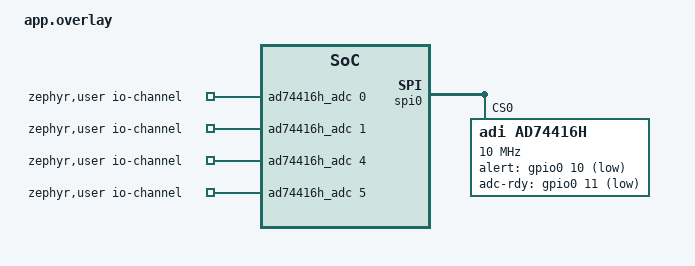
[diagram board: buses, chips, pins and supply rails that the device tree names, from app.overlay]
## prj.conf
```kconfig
CONFIG_ZTEST=y
CONFIG_EMUL=y
CONFIG_SPI=y
CONFIG_GPIO=y
CONFIG_ADC=y
CONFIG_ADC_ASYNC=y
CONFIG_DAC=y
CONFIG_MFD=y
```

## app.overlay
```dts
/*
 * Copyright (c) 2026 Terraflow Energy Europe
 *
 * SPDX-License-Identifier: Apache-2.0
 *
 * AD74416H on an emulated SPI bus, with ALERT and ADC_RDY on emulated GPIOs.
 */

#include <zephyr/dt-bindings/adc/adc.h>
#include <zephyr/dt-bindings/mfd/ad74416h.h>

#define AD74416H_ADC_CH(n, res)                                                                    \
	channel@n {                                                                                \
		reg = <n>;                                                                         \
		zephyr,gain = "ADC_GAIN_1";                                                        \
		zephyr,reference = "ADC_REF_INTERNAL";                                             \
		zephyr,acquisition-time = <ADC_ACQ_TIME_DEFAULT>;                                  \
		zephyr,resolution = <res>;                                                         \
	}

&spi0 {
	ad74416h: ad74416h@0 {
		compatible = "adi,ad74416h";
		reg = <0>;
		#address-cells = <1>;
		#size-cells = <0>;
		spi-max-frequency = <10000000>;
		adi,dev-addr = <1>;
		adi,internal-ref;
		alert-gpios = <&gpio0 10 GPIO_ACTIVE_LOW>;
		adc-rdy-gpios = <&gpio0 11 GPIO_ACTIVE_LOW>;
		adi,diag-assign = <AD74416H_DIAG_TEMP AD74416H_DIAG_AVDD_HI
				   AD74416H_DIAG_AVCC AD74416H_DIAG_DVCC>;

		channel@0 {
			reg = <0>;
			adi,ch-func = <AD74416H_CH_FUNC_VOUT>;
			adi,vout-bipolar;
		};

		channel@1 {
			reg = <1>;
			adi,ch-func = <AD74416H_CH_FUNC_RES_MEAS>;
			adi,rtd-500ua;
			adi,rtd-ref-1v;
			adi,adc-range = <AD74416H_ADC_RANGE_0_12V>;
		};

		channel@2 {
			reg = <2>;
			adi,ch-func = <AD74416H_CH_FUNC_DIN_LOGIC>;
			adi,din-threshold-fixed;
			adi,din-threshold = <0x37>;
			adi,din-sink = <0x14>;
			adi,din-counter;
		};

		channel@3 {
			reg = <3>;
			adi,ch-func = <AD74416H_CH_FUNC_HIGH_IMP>;
			adi,do-enable;
			adi,do-t1 = <5>;
		};

		ad74416h_adc: adc {
			compatible = "adi,ad74416h-adc";
			#io-channel-cells = <1>;
			#address-cells = <1>;
			#size-cells = <0>;

			AD74416H_ADC_CH(0, 24);
			AD74416H_ADC_CH(1, 24);
			AD74416H_ADC_CH(2, 24);
			AD74416H_ADC_CH(3, 24);
			AD74416H_ADC_CH(4, 16);
			AD74416H_ADC_CH(5, 16);
			AD74416H_ADC_CH(6, 16);
			AD74416H_ADC_CH(7, 16);
		};

		ad74416h_dac: dac {
			compatible = "adi,ad74416h-dac";
			#io-channel-cells = <1>;
		};

		ad74416h_gpio: gpio {
			compatible = "adi,ad74416h-gpio";
			gpio-controller;
			#gpio-cells = <2>;
		};
	};
};

/ {
	zephyr,user {
		io-channels = <&ad74416h_adc 0>, <&ad74416h_adc 1>, <&ad74416h_adc 4>,
			      <&ad74416h_adc 5>;
	};
};
```

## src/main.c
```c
/*
 * Copyright (c) 2026 Terraflow Energy Europe
 *
 * SPDX-License-Identifier: Apache-2.0
 *
 * AD74416H driver tests against the register-level emulator.
 */

#include <zephyr/device.h>
#include <zephyr/drivers/adc.h>
#include <zephyr/drivers/dac.h>
#include <zephyr/drivers/emul.h>
#include <zephyr/drivers/gpio.h>
#include <zephyr/kernel.h>
#include <zephyr/ztest.h>

#include <zephyr/drivers/mfd/ad74416h.h>
#include "mfd_ad74416h_emul.h"

#define AD_NODE DT_NODELABEL(ad74416h)

static const struct device *const dev = DEVICE_DT_GET(AD_NODE);
static const struct device *const adc = DEVICE_DT_GET(DT_NODELABEL(ad74416h_adc));
static const struct device *const dac = DEVICE_DT_GET(DT_NODELABEL(ad74416h_dac));
static const struct device *const gpio = DEVICE_DT_GET(DT_NODELABEL(ad74416h_gpio));
static const struct emul *const emul = EMUL_DT_GET(AD_NODE);

static const struct adc_dt_spec adc_ch0 = ADC_DT_SPEC_GET_BY_IDX(DT_PATH(zephyr_user), 0);
static const struct adc_dt_spec adc_ch1 = ADC_DT_SPEC_GET_BY_IDX(DT_PATH(zephyr_user), 1);
static const struct adc_dt_spec adc_diag0 = ADC_DT_SPEC_GET_BY_IDX(DT_PATH(zephyr_user), 2);
static const struct adc_dt_spec adc_diag1 = ADC_DT_SPEC_GET_BY_IDX(DT_PATH(zephyr_user), 3);

static uint16_t reg(uint8_t r)
{
	return ad74416h_emul_reg_get(emul, r);
}

static void before_each(void *fixture)
{
	ARG_UNUSED(fixture);

	ad74416h_emul_adc_hang(emul, false);
	ad74416h_emul_cal_mem_fault(emul, false);
	(void)ad74416h_adc_stop(dev, false);
	(void)ad74416h_alert_callback_set(dev, NULL, NULL);
	zassert_ok(ad74416h_reset(dev));
	ad74416h_emul_stats_clear(emul);
}

static void after_each(void *fixture)
{
	const struct ad74416h_emul_stats *s = ad74416h_emul_stats_get(emul);

	ARG_UNUSED(fixture);

	zassert_equal(s->bad_frames, 0, "driver sent %u bad frames", s->bad_frames);
	zassert_equal(s->violations, 0, "%u data sheet sequence violations", s->violations);
}

ZTEST_SUITE(ad74416h, NULL, NULL, before_each, after_each, NULL);

ZTEST(ad74416h, test_devices_ready)
{
	zassert_true(device_is_ready(dev));
	zassert_true(device_is_ready(adc));
	zassert_true(device_is_ready(dac));
	zassert_true(device_is_ready(gpio));
}

ZTEST(ad74416h, test_id)
{
	uint8_t rev;
	uint32_t uid;

	zassert_ok(ad74416h_get_id(dev, &rev, &uid));
	zassert_equal(rev, 2);
	/* SILICON_ID0 = 0x55, SILICON_ID1 = 0xABC */
	zassert_equal(uid, 0x55 | (0x3C << 7) | (0x2A << 13));
}

ZTEST(ad74416h, test_reset_uses_keys_and_clears_alerts)
{
	ad74416h_emul_stats_clear(emul);
	zassert_ok(ad74416h_reset(dev));

	zassert_equal(ad74416h_emul_stats_get(emul)->resets, 1);
	zassert_equal(reg(AD74416H_REG_ALERT_STATUS), 0, "alerts not cleared after reset");
	zassert_true(reg(AD74416H_REG_PWR_OPTIM_CONFIG) & AD74416H_PWR_REF_EN,
		     "internal reference not enabled after reset");
}

ZTEST(ad74416h, test_cal_mem_fault)
{
	ad74416h_emul_cal_mem_fault(emul, true);
	zassert_equal(ad74416h_reset(dev), -EIO);

	ad74416h_emul_cal_mem_fault(emul, false);
	zassert_ok(ad74416h_reset(dev));
}

ZTEST(ad74416h, test_register_access)
{
	static const uint8_t regs[] = {AD74416H_REG_SCRATCH(0), AD74416H_REG_SCRATCH(1),
				       AD74416H_REG_SCRATCH(2), AD74416H_REG_SCRATCH(3)};
	uint16_t vals[ARRAY_SIZE(regs)];

	for (int i = 0; i < ARRAY_SIZE(regs); i++) {
		zassert_ok(ad74416h_reg_write(dev, regs[i], 0x1111 * (i + 1)));
	}

	zassert_ok(ad74416h_reg_read_multi(dev, regs, vals, ARRAY_SIZE(regs)));
	for (int i = 0; i < ARRAY_SIZE(regs); i++) {
		zassert_equal(vals[i], 0x1111 * (i + 1));
	}

	zassert_ok(ad74416h_reg_update(dev, AD74416H_REG_SCRATCH(0), 0x00F0, 0x0050));
	zassert_ok(ad74416h_reg_read(dev, AD74416H_REG_SCRATCH(0), &vals[0]));
	zassert_equal(vals[0], 0x1151);
}

ZTEST(ad74416h, test_devicetree_config)
{
	/* Channel 0: bipolar voltage output, starting at 0 V */
	zassert_equal(reg(AD74416H_REG_CH_FUNC_SETUP(0)), AD74416H_CH_FUNC_VOUT);
	zassert_true(reg(AD74416H_REG_OUTPUT_CONFIG(0)) & AD74416H_OUT_VOUT_RANGE);
	zassert_equal(reg(AD74416H_REG_DAC_CODE(0)), 0x8000);

	/* Channel 1: RTD, 500 uA, 1 V reference, 0 V to 12 V range */
	zassert_equal(reg(AD74416H_REG_CH_FUNC_SETUP(1)), AD74416H_CH_FUNC_RES_MEAS);
	zassert_equal(reg(AD74416H_REG_RTD_CONFIG(1)), AD74416H_RTD_ADC_REF);
	zassert_equal(FIELD_GET(AD74416H_ADC_CONV_RANGE, reg(AD74416H_REG_ADC_CONFIG(1))),
		      AD74416H_ADC_RANGE_0_12V);
	zassert_equal(FIELD_GET(AD74416H_ADC_CONV_MUX, reg(AD74416H_REG_ADC_CONFIG(1))),
		      AD74416H_ADC_MUX_LF_TO_VSENSEN, "function default input was lost");

	/* Channel 2: IEC 61131-2 type 1/3 digital input with counter */
	zassert_equal(reg(AD74416H_REG_CH_FUNC_SETUP(2)), AD74416H_CH_FUNC_DIN_LOGIC);
	zassert_equal(reg(AD74416H_REG_DIN_CONFIG1(2)), AD74416H_DIN_THRESH_MODE | 0x37);
	zassert_equal(reg(AD74416H_REG_DIN_CONFIG0(2)),
		      AD74416H_DIN_COUNT_EN | AD74416H_DIN_COMPARATOR_EN |
			      FIELD_PREP(AD74416H_DIN_SINK, 0x14) |
			      FIELD_PREP(AD74416H_DIN_DEBOUNCE_TIME, 0xB));

	/* Channel 3: high impedance with the digital output enabled, FET off */
	zassert_equal(reg(AD74416H_REG_CH_FUNC_SETUP(3)), AD74416H_CH_FUNC_HIGH_IMP);
	zassert_equal(reg(AD74416H_REG_DO_EXT_CONFIG(3)), AD74416H_DO_MODE |
								  FIELD_PREP(AD74416H_DO_T1, 5) |
								  FIELD_PREP(AD74416H_DO_T2, 0x17));

	/* Diagnostics: TEMP, AVDD_HI, AVCC, DVCC */
	zassert_equal(reg(AD74416H_REG_DIAG_ASSIGN), 0x2351);

	/* adi,internal-ref */
	zassert_equal(reg(AD74416H_REG_PWR_OPTIM_CONFIG), AD74416H_PWR_REF_EN);
}

ZTEST(ad74416h, test_function_switch_sequence)
{
	const struct ad74416h_emul_stats *s = ad74416h_emul_stats_get(emul);
	struct ad74416h_channel_config cfg;
	int64_t start;

	ad74416h_channel_config_init(&cfg);
	cfg.func = AD74416H_CH_FUNC_IOUT_HART;
	cfg.dac_code = 0x1234;

	start = k_uptime_get();
	zassert_ok(ad74416h_channel_configure(dev, 0, &cfg));

	/* VOUT -> HIGH_IMP -> IOUT_HART, never directly */
	zassert_equal(s->func_history_len[0], 2);
	zassert_equal(s->func_history[0][0], AD74416H_CH_FUNC_HIGH_IMP);
	zassert_equal(s->func_history[0][1], AD74416H_CH_FUNC_IOUT_HART);

	/* 300 us before and 4.2 ms after the function change */
	zassert_true(k_uptime_get() - start >= 4, "channel init time not respected");

	/* The bipolar range was dropped in high impedance, the DAC code kept */
	zassert_false(reg(AD74416H_REG_OUTPUT_CONFIG(0)) & AD74416H_OUT_VOUT_RANGE);
	zassert_equal(reg(AD74416H_REG_DAC_CODE(0)), 0x1234);
	/* Function default: track supply */
	zassert_equal(FIELD_GET(AD74416H_OUT_AVDD_SELECT, reg(AD74416H_REG_OUTPUT_CONFIG(0))),
		      AD74416H_AVDD_TRACK);
	zassert_equal(reg(AD74416H_REG_CHANNEL_ALERT_STATUS(0)), 0, "VIOUT shut down");

	/* Config read back */
	zassert_ok(ad74416h_channel_config_get(dev, 0, &cfg));
	zassert_equal(cfg.func, AD74416H_CH_FUNC_IOUT_HART);
}

ZTEST(ad74416h, test_function_switch_disables_do)
{
	struct ad74416h_channel_config cfg;

	zassert_ok(ad74416h_do_set(dev, 3, true));
	zassert_true(reg(AD74416H_REG_DO_EXT_CONFIG(3)) & AD74416H_DO_DATA);

	ad74416h_channel_config_init(&cfg);
	cfg.func = AD74416H_CH_FUNC_VIN;
	zassert_ok(ad74416h_channel_configure(dev, 3, &cfg));

	zassert_false(reg(AD74416H_REG_DO_EXT_CONFIG(3)) & (AD74416H_DO_DATA | AD74416H_DO_MODE));
	zassert_equal(reg(AD74416H_REG_CH_FUNC_SETUP(3)), AD74416H_CH_FUNC_VIN);
}

ZTEST(ad74416h, test_invalid_config)
{
	struct ad74416h_channel_config cfg;

	ad74416h_channel_config_init(&cfg);
	zassert_equal(ad74416h_channel_configure(dev, 4, &cfg), -EINVAL);

	cfg.func = 0x6;
	zassert_equal(ad74416h_channel_configure(dev, 0, &cfg), -EINVAL);

	ad74416h_channel_config_init(&cfg);
	cfg.din_threshold = 99;
	zassert_equal(ad74416h_channel_configure(dev, 0, &cfg), -EINVAL);
}

ZTEST(ad74416h, test_adc_api)
{
	uint32_t buf32[3];
	uint16_t buf16[2];
	struct adc_sequence seq = {
		.buffer = buf32,
		.buffer_size = sizeof(buf32),
	};

	zassert_ok(adc_channel_setup_dt(&adc_ch0));
	zassert_ok(adc_channel_setup_dt(&adc_ch1));
	zassert_ok(adc_channel_setup_dt(&adc_diag0));
	zassert_ok(adc_channel_setup_dt(&adc_diag1));

	ad74416h_emul_adc_code_set(emul, 0, 0x123456);
	ad74416h_emul_adc_code_set(emul, 1, 0xABCDEF);
	ad74416h_emul_adc_code_set(emul, 4, 0x0A5A);
	ad74416h_emul_adc_code_set(emul, 5, 0x8000);

	seq.channels = BIT(0) | BIT(1) | BIT(4);
	seq.resolution = 24;
	zassert_ok(adc_read(adc, &seq));
	zassert_equal(buf32[0], 0x123456);
	zassert_equal(buf32[1], 0xABCDEF);
	zassert_equal(buf32[2], 0x0A5A);

	/* Only the requested channels were enabled */
	zassert_equal(reg(AD74416H_REG_ADC_CONV_CTRL) & 0xFF, BIT(0) | BIT(1) | BIT(4));

	/* 16-bit samples for diagnostics only */
	seq.buffer = buf16;
	seq.buffer_size = sizeof(buf16);
	seq.channels = BIT(4) | BIT(5);
	seq.resolution = 16;
	zassert_ok(adc_read(adc, &seq));
	zassert_equal(buf16[0], 0x0A5A);
	zassert_equal(buf16[1], 0x8000);

	seq.channels = BIT(0);
	zassert_equal(adc_read(adc, &seq), -EINVAL, "16-bit read of a 24-bit channel");

	seq.channels = BIT(3); /* not set up */
	seq.resolution = 24;
	seq.buffer = buf32;
	seq.buffer_size = sizeof(buf32);
	zassert_equal(adc_read(adc, &seq), -EINVAL);

	seq.channels = BIT(0) | BIT(1);
	seq.buffer_size = sizeof(uint32_t);
	zassert_equal(adc_read(adc, &seq), -ENOMEM);
}

ZTEST(ad74416h, test_adc_extra_samplings)
{
	uint32_t buf[3];
	struct adc_sequence_options opts = {.extra_samplings = 2};
	struct adc_sequence seq = {
		.options = &opts,
		.channels = BIT(0),
		.buffer = buf,
		.buffer_size = sizeof(buf),
		.resolution = 24,
	};

	zassert_ok(adc_channel_setup_dt(&adc_ch0));
	ad74416h_emul_adc_code_set(emul, 0, 0x000777);
	zassert_ok(adc_read(adc, &seq));
	for (int i = 0; i < ARRAY_SIZE(buf); i++) {
		zassert_equal(buf[i], 0x000777);
	}
}

ZTEST(ad74416h, test_adc_bad_channel_cfg)
{
	struct adc_channel_cfg cfg = {
		.gain = ADC_GAIN_2,
		.reference = ADC_REF_INTERNAL,
		.acquisition_time = ADC_ACQ_TIME_DEFAULT,
		.channel_id = 0,
	};

	zassert_equal(adc_channel_setup(adc, &cfg), -ENOTSUP);
	cfg.gain = ADC_GAIN_1;
	cfg.channel_id = 8;
	zassert_equal(adc_channel_setup(adc, &cfg), -EINVAL);
}

ZTEST(ad74416h, test_adc_timeout)
{
	uint32_t results[8];

	ad74416h_emul_adc_hang(emul, true);
	zassert_equal(ad74416h_adc_convert(dev, BIT(0), 0, results, K_MSEC(20)), -ETIMEDOUT);
	ad74416h_emul_adc_hang(emul, false);
	zassert_ok(ad74416h_adc_convert(dev, BIT(0), 0, results, K_MSEC(20)));
}

ZTEST(ad74416h, test_adc_continuous)
{
	uint32_t results[8];
	uint8_t seq_count;

	ad74416h_emul_adc_code_set(emul, 2, 0x00ABCD);
	zassert_ok(ad74416h_adc_start_continuous(dev, BIT(2), BIT(0)));
	zassert_equal(FIELD_GET(AD74416H_CONV_SEQ, reg(AD74416H_REG_ADC_CONV_CTRL)),
		      AD74416H_CONV_SEQ_CONTINUOUS);

	/* Configuration changes and single sequences are refused meanwhile */
	zassert_equal(ad74416h_adc_convert(dev, BIT(0), 0, results, K_MSEC(20)), -EBUSY);
	zassert_equal(ad74416h_adc_channel_set(dev, 0, AD74416H_ADC_RANGE_PM_12V,
					       AD74416H_ADC_RATE_20SPS,
					       AD74416H_ADC_MUX_LF_TO_AGND),
		      -EBUSY);

	zassert_ok(ad74416h_adc_results_read(dev, BIT(2), 0, results, &seq_count));
	zassert_equal(results[2], 0x00ABCD);
	zassert_equal(seq_count, 1);

	zassert_ok(ad74416h_adc_stop(dev, true));
	zassert_equal(FIELD_GET(AD74416H_CONV_SEQ, reg(AD74416H_REG_ADC_CONV_CTRL)),
		      AD74416H_CONV_SEQ_POWER_DOWN);
	zassert_ok(ad74416h_adc_channel_set(dev, 0, AD74416H_ADC_RANGE_PM_12V,
					    AD74416H_ADC_RATE_4K8SPS, AD74416H_ADC_MUX_LF_TO_AGND));
	zassert_equal(reg(AD74416H_REG_ADC_CONFIG(0)),
		      FIELD_PREP(AD74416H_ADC_CONV_RATE, AD74416H_ADC_RATE_4K8SPS) |
			      FIELD_PREP(AD74416H_ADC_CONV_RANGE, AD74416H_ADC_RANGE_PM_12V));
}

ZTEST(ad74416h, test_diag_assign)
{
	uint8_t diag;

	zassert_ok(ad74416h_diag_assign(dev, 2, AD74416H_DIAG_I_DO_SRC));
	zassert_ok(ad74416h_diag_get(dev, 2, &diag));
	zassert_equal(diag, AD74416H_DIAG_I_DO_SRC);
	zassert_equal(reg(AD74416H_REG_DIAG_ASSIGN), 0x2C51);
	zassert_equal(ad74416h_diag_assign(dev, 4, 0), -EINVAL);

	zassert_ok(ad74416h_diag_rate_set(dev, AD74416H_DIAG_RATE_19K2SPS));
	zassert_ok(ad74416h_adc_convert(dev, 0, BIT(2), (uint32_t[8]){0}, K_MSEC(20)));
	zassert_equal(FIELD_GET(AD74416H_CONV_RATE_DIAG, reg(AD74416H_REG_ADC_CONV_CTRL)),
		      AD74416H_DIAG_RATE_19K2SPS);
}

ZTEST(ad74416h, test_dac_api)
{
	struct dac_channel_cfg cfg = {.channel_id = 0, .resolution = 16};

	zassert_ok(dac_channel_setup(dac, &cfg));
	zassert_ok(dac_write_value(dac, 0, 0x9000));
	zassert_equal(reg(AD74416H_REG_DAC_CODE(0)), 0x9000);
	zassert_equal(reg(AD74416H_REG_DAC_ACTIVE(0)), 0x9000);

	zassert_equal(dac_write_value(dac, 0, 0x10000), -EINVAL);
	cfg.resolution = 12;
	zassert_equal(dac_channel_setup(dac, &cfg), -EINVAL);
}

ZTEST(ad74416h, test_dac_linear_slew_busy)
{
	uint16_t active;

	zassert_ok(ad74416h_dac_slew_set(dev, 0, AD74416H_SLEW_LINEAR, AD74416H_SLEW_STEP_6P1,
					 AD74416H_SLEW_RATE_76K8HZ));
	zassert_equal(FIELD_GET(AD74416H_OUT_SLEW_EN, reg(AD74416H_REG_OUTPUT_CONFIG(0))),
		      AD74416H_SLEW_LINEAR);

	zassert_ok(ad74416h_dac_set(dev, 0, 0xA000));
	/* Still slewing towards 0xA000 */
	zassert_equal(ad74416h_dac_set(dev, 0, 0xB000), -EBUSY);

	ad74416h_emul_dac_settle(emul, 0);
	zassert_ok(ad74416h_dac_active_get(dev, 0, &active));
	zassert_equal(active, 0xA000);
	zassert_ok(ad74416h_dac_set(dev, 0, 0xB000));
}

ZTEST(ad74416h, test_ldac)
{
	zassert_ok(ad74416h_reg_update(dev, AD74416H_REG_OUTPUT_CONFIG(0),
				       AD74416H_OUT_WAIT_LDAC_CMD, AD74416H_OUT_WAIT_LDAC_CMD));
	zassert_ok(ad74416h_dac_set(dev, 0, 0x4000));
	zassert_equal(reg(AD74416H_REG_DAC_ACTIVE(0)), 0x8000);
	zassert_ok(ad74416h_dac_update_all(dev));
	zassert_equal(reg(AD74416H_REG_DAC_ACTIVE(0)), 0x4000);
}

ZTEST(ad74416h, test_gpio_pins)
{
	zassert_ok(gpio_pin_configure(gpio, AD74416H_GPIO_A, GPIO_OUTPUT_HIGH));
	zassert_equal(FIELD_GET(AD74416H_GPIO_SELECT, reg(AD74416H_REG_GPIO_CONFIG(0))),
		      AD74416H_GPIO_SEL_GPO);
	zassert_true(reg(AD74416H_REG_GPIO_CONFIG(0)) & AD74416H_GPIO_GPO_DATA);
	zassert_false(reg(AD74416H_REG_GPIO_CONFIG(0)) & AD74416H_GPIO_GP_WK_PD_EN);
	zassert_equal(gpio_pin_get(gpio, AD74416H_GPIO_A), 1);

	zassert_ok(gpio_pin_toggle(gpio, AD74416H_GPIO_A));
	zassert_equal(gpio_pin_get(gpio, AD74416H_GPIO_A), 0);

	zassert_ok(gpio_pin_configure(gpio, AD74416H_GPIO_F, GPIO_INPUT | GPIO_PULL_DOWN));
	zassert_equal(FIELD_GET(AD74416H_GPIO_SELECT, reg(AD74416H_REG_GPIO_CONFIG(5))),
		      AD74416H_GPIO_SEL_GPI);
	zassert_true(reg(AD74416H_REG_GPIO_CONFIG(5)) & AD74416H_GPIO_GP_WK_PD_EN);
	ad74416h_emul_gpi_set(emul, 5, true);
	zassert_equal(gpio_pin_get(gpio, AD74416H_GPIO_F), 1);
	ad74416h_emul_gpi_set(emul, 5, false);
	zassert_equal(gpio_pin_get(gpio, AD74416H_GPIO_F), 0);

	zassert_equal(gpio_pin_configure(gpio, AD74416H_GPIO_B, GPIO_INPUT | GPIO_PULL_UP),
		      -ENOTSUP);
	zassert_equal(gpio_pin_interrupt_configure(gpio, AD74416H_GPIO_B, GPIO_INT_EDGE_BOTH),
		      -ENOTSUP);
}

ZTEST(ad74416h, test_gpio_din_do)
{
	zassert_ok(gpio_pin_configure(gpio, AD74416H_GPIO_DIN(2), GPIO_INPUT));
	zassert_equal(gpio_pin_configure(gpio, AD74416H_GPIO_DIN(2), GPIO_OUTPUT), -ENOTSUP);

	ad74416h_emul_din_set(emul, BIT(2));
	zassert_equal(gpio_pin_get(gpio, AD74416H_GPIO_DIN(2)), 1);
	zassert_equal(gpio_pin_get(gpio, AD74416H_GPIO_DIN(1)), 0);

	zassert_equal(gpio_pin_configure(gpio, AD74416H_GPIO_DO(1), GPIO_INPUT), -ENOTSUP);
	zassert_ok(gpio_pin_configure(gpio, AD74416H_GPIO_DO(1), GPIO_OUTPUT_INACTIVE));
	zassert_equal(reg(AD74416H_REG_DO_EXT_CONFIG(1)) &
			      (AD74416H_DO_MODE | AD74416H_DO_DATA | AD74416H_DO_SRC_SEL),
		      AD74416H_DO_MODE);
	zassert_ok(gpio_pin_set(gpio, AD74416H_GPIO_DO(1), 1));
	zassert_true(reg(AD74416H_REG_DO_EXT_CONFIG(1)) & AD74416H_DO_DATA);
	zassert_equal(gpio_pin_get(gpio, AD74416H_GPIO_DO(1)), 1);
	zassert_ok(gpio_pin_configure(gpio, AD74416H_GPIO_DO(1), GPIO_DISCONNECTED));
	zassert_false(reg(AD74416H_REG_DO_EXT_CONFIG(1)) & (AD74416H_DO_MODE | AD74416H_DO_DATA));
}

ZTEST(ad74416h, test_din)
{
	uint32_t count;
	uint8_t state;

	ad74416h_emul_din_set(emul, 0x5);
	zassert_ok(ad74416h_din_get(dev, &state));
	zassert_equal(state, 0x5);

	ad74416h_emul_din_counter_set(emul, 2, 0x12345678);
	zassert_ok(ad74416h_din_counter_get(dev, 2, &count));
	zassert_equal(count, 0x12345678);

	zassert_ok(ad74416h_din_threshold_set(dev, 2, 60, false));
	zassert_equal(reg(AD74416H_REG_DIN_CONFIG1(2)) &
			      (AD74416H_DIN_THRESH_MODE | AD74416H_DIN_COMP_THRESH),
		      60);
	zassert_equal(ad74416h_din_threshold_set(dev, 2, 99, false), -EINVAL);
}

ZTEST(ad74416h, test_do_recover)
{
	/* A DO_TIMEOUT switches the output off and clears DO_MODE */
	ad74416h_emul_reg_set(emul, AD74416H_REG_DO_EXT_CONFIG(3),
			      reg(AD74416H_REG_DO_EXT_CONFIG(3)) & ~AD74416H_DO_MODE);

	zassert_ok(ad74416h_do_recover(dev, 3, true));
	zassert_equal(reg(AD74416H_REG_DO_EXT_CONFIG(3)) & (AD74416H_DO_MODE | AD74416H_DO_DATA),
		      AD74416H_DO_MODE | AD74416H_DO_DATA);
}

static K_SEM_DEFINE(alert_sem, 0, 1);
static struct ad74416h_alerts alert_seen;

static void alert_cb(const struct device *d, const struct ad74416h_alerts *alerts, void *ud)
{
	ARG_UNUSED(d);
	ARG_UNUSED(ud);

	alert_seen = *alerts;
	k_sem_give(&alert_sem);
}

ZTEST(ad74416h, test_alerts)
{
	struct ad74416h_alerts alerts;

	k_sem_reset(&alert_sem);
	zassert_ok(ad74416h_alert_callback_set(dev, alert_cb, NULL));

	ad74416h_emul_channel_alert_set(emul, 1, AD74416H_CH_ALERT_ANALOG_IO_OC);
	zassert_ok(k_sem_take(&alert_sem, K_MSEC(100)), "no alert callback");

	zassert_true(alert_seen.alert & AD74416H_ALERT_CHANNEL(1));
	zassert_equal(alert_seen.channel[1], AD74416H_CH_ALERT_ANALOG_IO_OC);

	zassert_ok(ad74416h_alerts_clear(dev, &alert_seen));
	zassert_ok(ad74416h_alerts_get(dev, &alerts));
	zassert_equal(alerts.alert, 0);
	zassert_equal(alerts.channel[1], 0);

	/* A masked alert stays in its register but off the summary bit */
	memset(&alerts, 0, sizeof(alerts));
	alerts.supply = AD74416H_SUPPLY_DO_VDD_ERR;
	zassert_ok(ad74416h_alerts_mask_set(dev, &alerts));
	ad74416h_emul_supply_alert_set(emul, AD74416H_SUPPLY_DO_VDD_ERR);
	zassert_ok(ad74416h_alerts_get(dev, &alerts));
	zassert_equal(alerts.supply, AD74416H_SUPPLY_DO_VDD_ERR);
	zassert_false(alerts.alert & AD74416H_ALERT_SUPPLY_ERR);
	zassert_ok(ad74416h_alerts_clear(dev, &alerts));
}

ZTEST(ad74416h, test_status_bits)
{
	uint16_t val;

	ad74416h_emul_channel_alert_set(emul, 0, AD74416H_CH_ALERT_ANALOG_IO_SC);
	zassert_ok(ad74416h_reg_read(dev, AD74416H_REG_SCRATCH(0), &val));
	/* ALERT and CHANNEL_ALERT */
	zassert_equal(ad74416h_last_status(dev), BIT(3) | BIT(1));
}

ZTEST(ad74416h, test_device_control)
{
	zassert_ok(ad74416h_wdt_enable(dev, 0x5));
	zassert_equal(reg(AD74416H_REG_WDT_CONFIG), AD74416H_WDT_EN | 0x5);
	zassert_ok(ad74416h_wdt_disable(dev));
	zassert_equal(reg(AD74416H_REG_WDT_CONFIG), 0x5);
	zassert_equal(ad74416h_wdt_enable(dev, 0xB), -EINVAL);

	zassert_ok(ad74416h_thermal_reset_enable(dev, true));
	zassert_equal(reg(AD74416H_REG_THERM_RST), AD74416H_THERM_RST_EN);

	/* adi,internal-ref keeps REF_EN set */
	zassert_ok(ad74416h_power_optim_set(dev, AD74416H_PWR_SENSE_HF_OPT(2)));
	zassert_equal(reg(AD74416H_REG_PWR_OPTIM_CONFIG),
		      AD74416H_PWR_SENSE_HF_OPT(2) | AD74416H_PWR_REF_EN);
	zassert_ok(ad74416h_power_optim_set(dev, 0));
	zassert_equal(reg(AD74416H_REG_PWR_OPTIM_CONFIG), AD74416H_PWR_REF_EN);
}

/* Unit conversions, against values from the data sheet tables */

ZTEST(ad74416h, test_convert_adc)
{
	/* Table 24 */
	zassert_equal(ad74416h_adc_code_to_nv(AD74416H_ADC_RANGE_0_12V, 0x800000), 6000000000LL);
	zassert_equal(ad74416h_adc_code_to_nv(AD74416H_ADC_RANGE_PM_12V, 0), -12000000000LL);
	zassert_equal(ad74416h_adc_code_to_nv(AD74416H_ADC_RANGE_PM_12V, 0x800000), 0);
	zassert_equal(ad74416h_adc_code_to_nv(AD74416H_ADC_RANGE_NEG_312MV_0, 0x800000),
		      -156250000);
	zassert_equal(ad74416h_adc_code_to_nv(AD74416H_ADC_RANGE_0_625MV, 0x800000), 312500000);
	zassert_within(ad74416h_adc_code_to_nv(AD74416H_ADC_RANGE_PM_104MV, 0), -104166667, 1);

	/* Table 25: 0x0 is 0 mA, full scale is 26.04 mA in the 0.3125 V range */
	zassert_equal(ad74416h_adc_code_to_na(AD74416H_ADC_RANGE_0_312MV, 0, 12000), 0);
	zassert_within(ad74416h_adc_code_to_na(AD74416H_ADC_RANGE_0_312MV, 0x800000, 12000),
		       13020833, 1);
}

ZTEST(ad74416h, test_convert_rtd)
{
	/* Pt100 range 0..0.625 V (gain 4): full scale is 2012 / 4 = 503 ohm */
	zassert_within(ad74416h_rtd_code_to_mohm(AD74416H_ADC_RANGE_0_625MV, 0x800000), 251500, 1);
	/* Pt1000 range 0..12 V (gain 1/4.8): half scale is 2012 * 4.8 / 2 */
	zassert_within(ad74416h_rtd_code_to_mohm(AD74416H_ADC_RANGE_0_12V, 0x800000), 4828800, 1);
	/* Cu10 range +-104 mV (gain 24): midscale is 0 ohm */
	zassert_equal(ad74416h_rtd_code_to_mohm(AD74416H_ADC_RANGE_PM_104MV, 0x800000), 0);
	zassert_within(ad74416h_rtd_code_to_mohm(AD74416H_ADC_RANGE_PM_104MV, 0xC00000), 41917, 1);
}

ZTEST(ad74416h, test_convert_diag)
{
	/* Table 30 */
	/* Code 2616 is 25.03 degC */
	zassert_within(ad74416h_diag_code_to_value(AD74416H_DIAG_TEMP, 2616, 0), 25028, 1);
	zassert_within(ad74416h_diag_code_to_value(AD74416H_DIAG_AVDD_HI, 32768, 0), 24038462, 1);
	zassert_within(ad74416h_diag_code_to_value(AD74416H_DIAG_DO_VDD, 32768, 0), 19531250, 1);
	zassert_within(ad74416h_diag_code_to_value(AD74416H_DIAG_DVCC, 32768, 0), 4166667, 1);
	zassert_equal(ad74416h_diag_code_to_value(AD74416H_DIAG_AVSS, 0, 0), -20000000);
	zassert_equal(ad74416h_diag_code_to_value(AD74416H_DIAG_VSENSEN, 32768, 0), 5000000);
	zassert_equal(ad74416h_diag_code_to_value(AD74416H_DIAG_VSENSEP, 32768, INT32_MIN),
		      5000000);
	zassert_equal(ad74416h_diag_code_to_value(AD74416H_DIAG_VSENSEP, 32768, 24000000), 6000000);
	/* 0.25 V across 0.15 ohm = 1.6667 A */
	zassert_within(ad74416h_diag_code_to_value(AD74416H_DIAG_I_DO_SRC, 32768, 150), 1666667, 1);
}

ZTEST(ad74416h, test_convert_dac_din)
{
	uint16_t code;
	uint8_t th;

	/* Table 31 */
	zassert_ok(ad74416h_dac_uv_to_code(true, 0, &code));
	zassert_equal(code, 0x8000);
	zassert_ok(ad74416h_dac_uv_to_code(false, 6000000, &code));
	zassert_equal(code, 0x8000);
	zassert_ok(ad74416h_dac_uv_to_code(false, 12000000, &code));
	zassert_equal(code, 0xFFFF);
	zassert_equal(ad74416h_dac_uv_to_code(false, -1, &code), -ERANGE);
	zassert_ok(ad74416h_dac_ua_to_code(12500, &code));
	zassert_equal(code, 0x8000);
	zassert_equal(ad74416h_dac_ua_to_code(25001, &code), -ERANGE);

	/* 8.5 V fixed threshold is the recommended 0x37 for IEC 61131-2 */
	zassert_ok(ad74416h_din_threshold_fixed_mv_to_code(8500, &th));
	zassert_equal(th, 0x37);
	zassert_ok(ad74416h_din_threshold_avdd_mv_to_code(12000, 24000, &th));
	zassert_equal(th, 73);
	zassert_equal(ad74416h_din_threshold_fixed_mv_to_code(31000, &th), -ERANGE);
}
```
